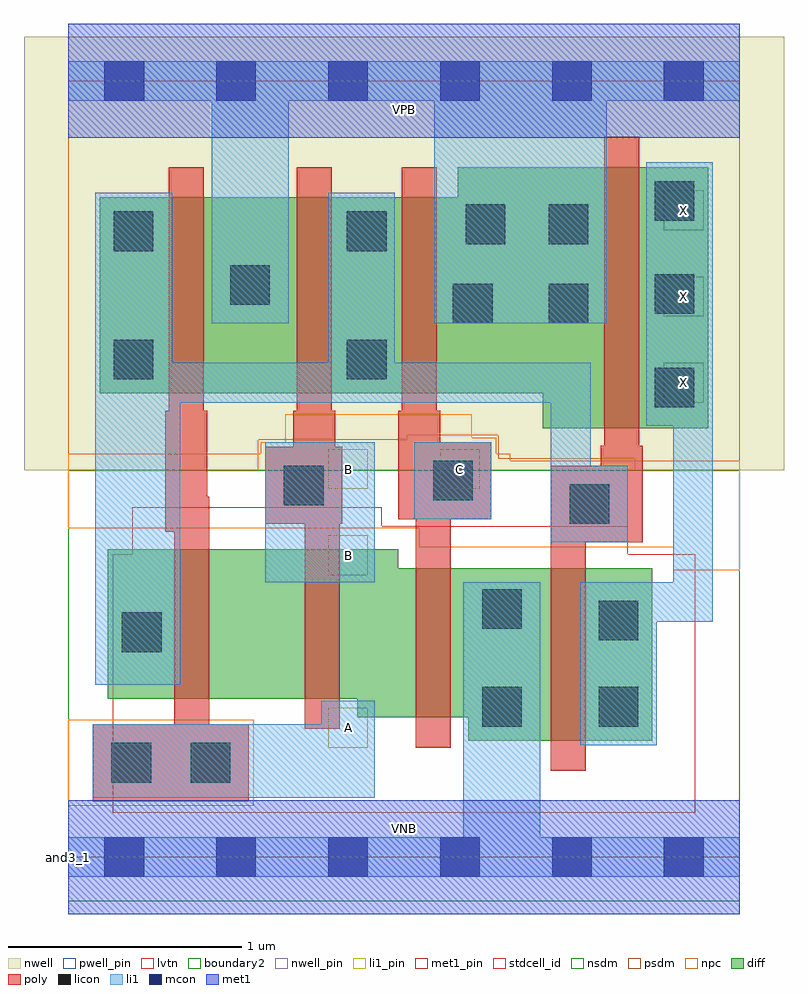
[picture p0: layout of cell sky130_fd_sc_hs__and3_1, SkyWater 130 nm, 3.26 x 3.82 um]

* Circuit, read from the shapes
.subckt sky130_fd_sc_hs__and3_1 A B C VGND VNB VPB VPWR X
XM1 n1 A n2 VNB sky130_fd_pr__nfet_01v8_lvt w=0.64 l=0.15
XM2 n3 B n1 VNB sky130_fd_pr__nfet_01v8_lvt w=0.64 l=0.15
XM3 VGND C n3 VNB sky130_fd_pr__nfet_01v8_lvt w=0.64 l=0.15
XM4 X n2 VGND VNB sky130_fd_pr__nfet_01v8_lvt w=0.74 l=0.15
XM5 VPWR A n2 VPB sky130_fd_pr__pfet_01v8 w=0.84 l=0.15
XM6 n2 B VPWR VPB sky130_fd_pr__pfet_01v8 w=0.84 l=0.15
XM7 VPWR C n2 VPB sky130_fd_pr__pfet_01v8 w=0.84 l=0.15
XM8 X n2 VPWR VPB sky130_fd_pr__pfet_01v8 w=1.12 l=0.15
.ends

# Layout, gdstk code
import gdstk
lib = gdstk.Library(unit=1e-6, precision=1e-09)
def R(c, l, rs):  # rectangles x0, y0, x1, y1
    for r in rs: c.add(gdstk.rectangle(r[:2], r[2:], *l))
def A(c, l, x, y, w, h, nx, ny, dx, dy):  # array of equal rectangles
    R(c, l, [(x+i*dx, y+j*dy, x+i*dx+w, y+j*dy+h) for i in range(nx) for j in range(ny)])
def P(c, l, *ps):  # polygons
    for p in ps: c.add(gdstk.Polygon(p, *l))
nwell_pin = (64, 16)
nwell = (64, 20)
diff = (65, 20)
poly = (66, 20)
licon = (66, 44)
li1_pin = (67, 16)
li1 = (67, 20)
mcon = (67, 44)
met1_pin = (68, 16)
met1 = (68, 20)
stdcell_id = (81, 4)
nsdm = (93, 44)
psdm = (94, 20)
npc = (95, 20)
pwell_pin = (122, 16)
lvtn = (125, 44)
boundary2 = (236, 0)

sky130_fd_sc_hs__and3_1 = lib.new_cell('sky130_fd_sc_hs__and3_1')
R(sky130_fd_sc_hs__and3_1, nwell_pin, [(0,3.085,2.88,3.33)])
R(sky130_fd_sc_hs__and3_1, nwell, [(-0.19,1.66,3.07,3.52)])
P(sky130_fd_sc_hs__and3_1, diff, [(2.505,1.24),(1.415,1.24),(1.415,1.32),(0.17,1.32),(0.17,0.68),(1.24,0.68),(1.24,0.6),(1.715,0.6),(1.715,0.5),(2.505,0.5)],
  [(2.745,2.96),(1.67,2.96),(1.67,2.83),(0.135,2.83),(0.135,1.99),(2.035,1.99),(2.035,1.84),(2.745,1.84)])
P(sky130_fd_sc_hs__and3_1, poly, [(2.465,1.765),(2.45,1.765),(2.45,3.09),(2.3,3.09),(2.3,1.765),(2.285,1.765),(2.285,1.68),(2.07,1.68),(2.07,0.37),(2.22,0.37),(2.22,1.35),(2.465,1.35)],
  [(1.815,1.78),(1.595,1.78),(1.595,1.915),(1.58,1.915),(1.58,2.96),(1.43,2.96),(1.43,1.915),(1.415,1.915),(1.415,1.45),(1.49,1.45),(1.49,0.47),(1.64,0.47),(1.64,1.45),(1.815,1.45)],
  [(1.175,1.76),(1.145,1.76),(1.145,1.915),(1.13,1.915),(1.13,2.96),(0.98,2.96),(0.98,1.915),(0.965,1.915),(0.965,1.76),(0.845,1.76),(0.845,1.43),(1.015,1.43),(1.015,0.55),(1.165,0.55),(1.165,1.43),(1.175,1.43)],
  [(0.775,0.57),(0.605,0.57),(0.605,1.545),(0.595,1.545),(0.595,1.915),(0.58,1.915),(0.58,2.96),(0.43,2.96),(0.43,1.915),(0.415,1.915),(0.415,1.395),(0.455,1.395),(0.455,0.57),(0.105,0.57),(0.105,0.24),(0.775,0.24)])
A(sky130_fd_sc_hs__and3_1, licon, 2.515, 1.93, 0.17, 0.17, 1, 3, 0, 0.4)
R(sky130_fd_sc_hs__and3_1, licon, [(0.185,0.32,0.355,0.49), (0.525,0.32,0.695,0.49), (1.775,0.56,1.945,0.73), (2.275,0.56,2.445,0.73), (0.23,0.88,0.4,1.05), (2.275,0.93,2.445,1.1), (1.775,0.98,1.945,1.15), (2.15,1.43,2.32,1.6), (0.925,1.51,1.095,1.68), (1.565,1.53,1.735,1.7), (0.195,2.05,0.365,2.22), (1.195,2.05,1.365,2.22), (1.65,2.29,1.82,2.46), (2.06,2.29,2.23,2.46), (0.695,2.37,0.865,2.54), (0.195,2.6,0.365,2.77), (1.195,2.6,1.365,2.77), (1.705,2.63,1.875,2.8), (2.06,2.63,2.23,2.8)])
A(sky130_fd_sc_hs__and3_1, li1_pin, 2.555, 1.95, 0.17, 0.17, 1, 3, 0, 0.37)
R(sky130_fd_sc_hs__and3_1, li1_pin, [(1.115,0.47,1.285,0.64), (1.115,1.21,1.285,1.38), (1.115,1.58,1.285,1.75), (1.595,1.58,1.765,1.75)])
R(sky130_fd_sc_hs__and3_1, li1, [(0.845,1.18,1.315,1.78), (1.485,1.45,1.815,1.78)])
P(sky130_fd_sc_hs__and3_1, li1, [(0,-0.085),(0,0.085),(1.695,0.085),(1.695,1.18),(2.025,1.18),(2.025,0.085),(2.88,0.085),(2.88,-0.085)],
  [(0,3.245),(0,3.415),(2.88,3.415),(2.88,3.245),(2.31,3.245),(2.31,2.29),(1.57,2.29),(1.57,3.245),(0.945,3.245),(0.945,2.29),(0.615,2.29),(0.615,3.245)],
  [(0.105,0.255),(0.105,0.57),(1.085,0.57),(1.085,0.67),(1.315,0.67),(1.315,0.255)],
  [(2.48,1.85),(2.48,2.98),(2.765,2.98),(2.765,1.01),(2.525,1.01),(2.525,0.48),(2.195,0.48),(2.195,1.18),(2.595,1.18),(2.595,1.85)],
  [(1.4,2.12),(2.24,2.12),(2.24,1.68),(2.4,1.68),(2.4,1.35),(2.07,1.35),(2.07,1.95),(0.48,1.95),(0.48,0.74),(0.115,0.74),(0.115,2.85),(0.445,2.85),(0.445,2.12),(1.115,2.12),(1.115,2.85),(1.4,2.85)])
A(sky130_fd_sc_hs__and3_1, mcon, 0.155, -0.085, 0.17, 0.17, 6, 2, 0.48, 3.33)
R(sky130_fd_sc_hs__and3_1, met1_pin, [(0,0,2.88,0.245), (0,3.085,2.88,3.33)])
R(sky130_fd_sc_hs__and3_1, met1, [(0,-0.245,2.88,0.245), (0,3.085,2.88,3.575)])
R(sky130_fd_sc_hs__and3_1, stdcell_id, [(0,0,2.88,3.33)])
R(sky130_fd_sc_hs__and3_1, nsdm, [(0,-0.19,2.88,1.66)])
P(sky130_fd_sc_hs__and3_1, psdm, [(2.88,3.52),(0,3.52),(0,1.66),(0.815,1.66),(0.815,1.79),(1.455,1.79),(1.455,1.81),(1.845,1.81),(1.845,1.71),(2.43,1.71),(2.43,1.66),(2.88,1.66)])
R(sky130_fd_sc_hs__and3_1, npc, [(0,0.22,0.795,0.59)])
P(sky130_fd_sc_hs__and3_1, npc, [(2.88,1.7),(1.895,1.7),(1.895,1.73),(1.835,1.73),(1.835,1.8),(1.73,1.8),(1.73,1.9),(0.93,1.9),(0.93,1.78),(0.825,1.78),(0.825,1.73),(0,1.73),(0,1.41),(1.505,1.41),(1.505,1.33),(2.595,1.33),(2.595,1.23),(2.88,1.23)])
R(sky130_fd_sc_hs__and3_1, pwell_pin, [(0,0,2.88,0.245)])
P(sky130_fd_sc_hs__and3_1, lvtn, [(2.69,1.3),(2.4,1.3),(2.4,1.42),(1.345,1.42),(1.345,1.5),(0.275,1.5),(0.275,1.3),(0.19,1.3),(0.19,0.19),(2.69,0.19)])
R(sky130_fd_sc_hs__and3_1, boundary2, [(0,0,2.88,3.33)])
sky130_fd_sc_hs__and3_1.add(gdstk.Label('and3_1', (0,0), layer=83, texttype=44))
sky130_fd_sc_hs__and3_1.add(gdstk.Label('VNB', (1.44,0.123), layer=64, texttype=59))
sky130_fd_sc_hs__and3_1.add(gdstk.Label('VPB', (1.44,3.208), layer=64, texttype=5))
sky130_fd_sc_hs__and3_1.add(gdstk.Label('VPWR', (1.44,3.208), layer=68, texttype=5))
sky130_fd_sc_hs__and3_1.add(gdstk.Label('VGND', (1.44,0.123), layer=68, texttype=5))
sky130_fd_sc_hs__and3_1.add(gdstk.Label('A', (1.2,0.555), layer=67, texttype=5))
sky130_fd_sc_hs__and3_1.add(gdstk.Label('B', (1.2,1.295), layer=67, texttype=5))
sky130_fd_sc_hs__and3_1.add(gdstk.Label('B', (1.2,1.665), layer=67, texttype=5))
sky130_fd_sc_hs__and3_1.add(gdstk.Label('C', (1.68,1.665), layer=67, texttype=5))
sky130_fd_sc_hs__and3_1.add(gdstk.Label('X', (2.64,2.035), layer=67, texttype=5))
sky130_fd_sc_hs__and3_1.add(gdstk.Label('X', (2.64,2.405), layer=67, texttype=5))
sky130_fd_sc_hs__and3_1.add(gdstk.Label('X', (2.64,2.775), layer=67, texttype=5))

lib.write_gds('sky130_fd_sc_hs__and3_1.gds')
